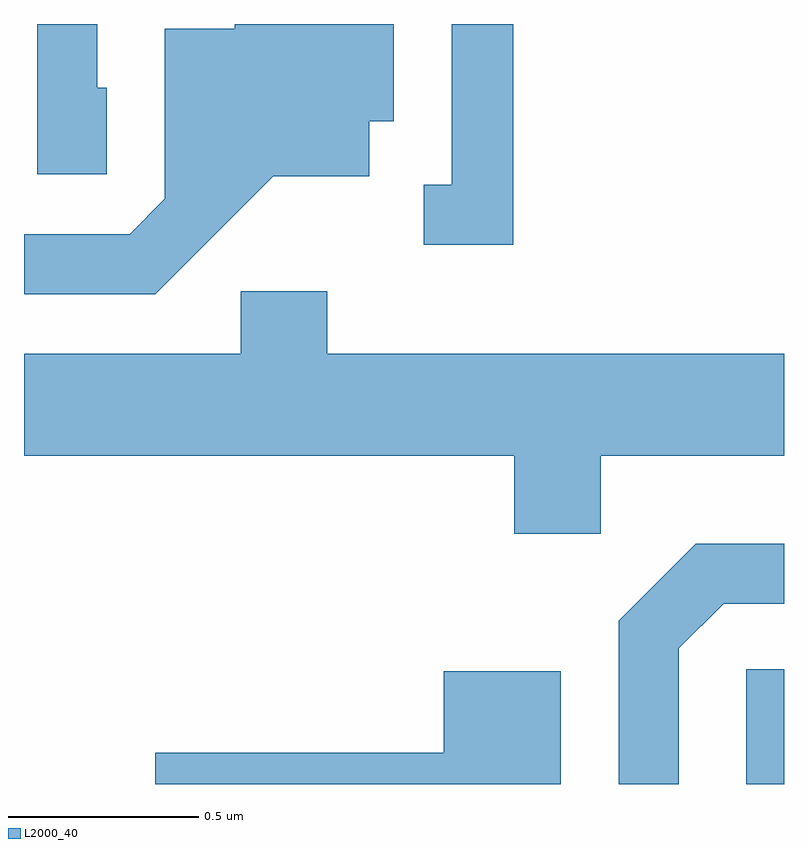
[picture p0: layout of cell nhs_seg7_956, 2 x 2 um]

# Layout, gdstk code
import gdstk
lib = gdstk.Library(unit=1e-6, precision=1e-09)
def R(c, l, rs):  # rectangles x0, y0, x1, y1
    for r in rs: c.add(gdstk.rectangle(r[:2], r[2:], *l))
def P(c, l, *ps):  # polygons
    for p in ps: c.add(gdstk.Polygon(p, *l))
L2000_40 = (2000, 40)

nhs_seg7_956 = lib.new_cell('nhs_seg7_956')
R(nhs_seg7_956, L2000_40, [(193.511,1802.252,193.611,1802.554)])
P(nhs_seg7_956, L2000_40, [(192.267,1803.851),(192.519,1803.851),(192.519,1803.996),(192.584,1803.996),(192.584,1804.252),(192.166,1804.252),(192.166,1804.239),(191.981,1804.239),(191.981,1803.792),(191.889,1803.699),(191.611,1803.699),(191.611,1803.541),(191.957,1803.541)],
  [(191.829,1804.084),(191.804,1804.084),(191.804,1804.252),(191.646,1804.252),(191.646,1803.856),(191.829,1803.856)],
  [(192.899,1804.252),(192.736,1804.252),(192.736,1803.829),(192.663,1803.829),(192.663,1803.671),(192.899,1803.671)],
  [(193.129,1803.116),(193.611,1803.116),(193.611,1803.384),(192.409,1803.384),(192.409,1803.549),(192.181,1803.549),(192.181,1803.384),(191.611,1803.384),(191.611,1803.116),(192.901,1803.116),(192.901,1802.911),(193.129,1802.911)],
  [(193.334,1802.609),(193.452,1802.726),(193.611,1802.726),(193.611,1802.884),(193.379,1802.884),(193.176,1802.682),(193.176,1802.252),(193.334,1802.252)],
  [(193.024,1802.549),(192.716,1802.549),(192.716,1802.334),(191.956,1802.334),(191.956,1802.252),(193.024,1802.252)])

lib.write_gds('nhs_seg7_956.gds')
